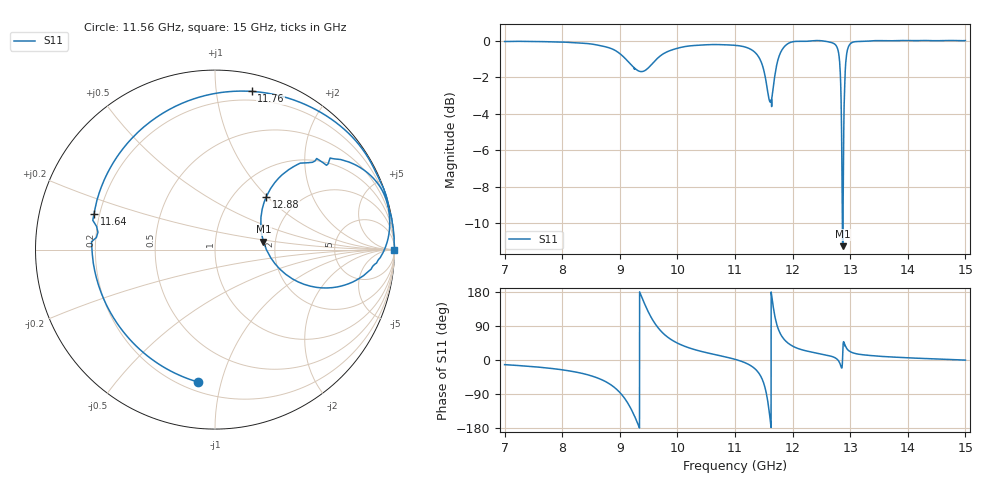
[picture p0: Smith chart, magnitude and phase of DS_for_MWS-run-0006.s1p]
! TOUCHSTONE file generated by CST DESIGN STUDIO
! Date and time: Mon Feb 10 16:45:25 2025
! Project name: C:\Work\MatlabApps\UnitCellType2OptimizationMatlab\CST\unitcell.cst
! Tree item: Tasks\Sweep1\SPara1\S-Parameters
! Header version: 2024
! Port assignment regex: !\s*Touchstone port\s*([0-9]+)\s*=\s*(CST MWS port|CST DES external port|CST DES block port)\s*(.+)\s* \(\"(.*)\"\)(\s*mode\s*([0-9]+))?.*
! Touchstone port assignment:
! Touchstone port 1 = CST DES external port 1 ("")
# GHz S MA R 50
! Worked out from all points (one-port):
!   4001 points, 7 GHz to 15 GHz, reference 50 ohm
!   lowest |S11| = -11.3 dB at 12.87 GHz (marker M1), VSWR 1.75, Z = 86.4 + j8.33 ohm
!   |S11| at or under -10 dB: 12.86388 GHz to 12.87422 GHz (10.34 MHz wide, 0.0803 % of centre)
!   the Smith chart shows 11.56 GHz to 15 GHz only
!   S11 on the Smith chart (normalised r, x): 11.56 GHz: 0.26, -0.84; 11.64 GHz: 0.18, +0.14; 11.76 GHz: 0.13, +1.25; 12.88 GHz: 1.39, +0.99; 15 GHz: open
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7  0.9938 -12.3
8  0.9902 -25.9
8.636  0.97 -48.8
9  0.9209 -85.7
9.184  0.8626 -125.8
9.36  0.8222 173.9
9.482  0.8378 130.9
9.598  0.8757 99.1
9.784  0.9251 66.1
10  0.9523 44.6
11  0.9702 1.8
11.392  0.9109 -30.4
11.482  0.849 -54.3
11.556  0.7437 -97.5
11.606  0.6793 -151.1
11.644  0.7025 163.6
11.7  0.8172 109.6
11.764  0.9047 77.0
11.86  0.9632 53.2
12  0.9921 36.7
12.746  0.9728 5.1
12.826  0.8275 -10.8
12.868  0.2733 9.4
12.88  0.411 45.9
12.922  0.8675 35.1
13  0.9789 22.1
14  0.9991 5.7
15  0.9997 -0.3
